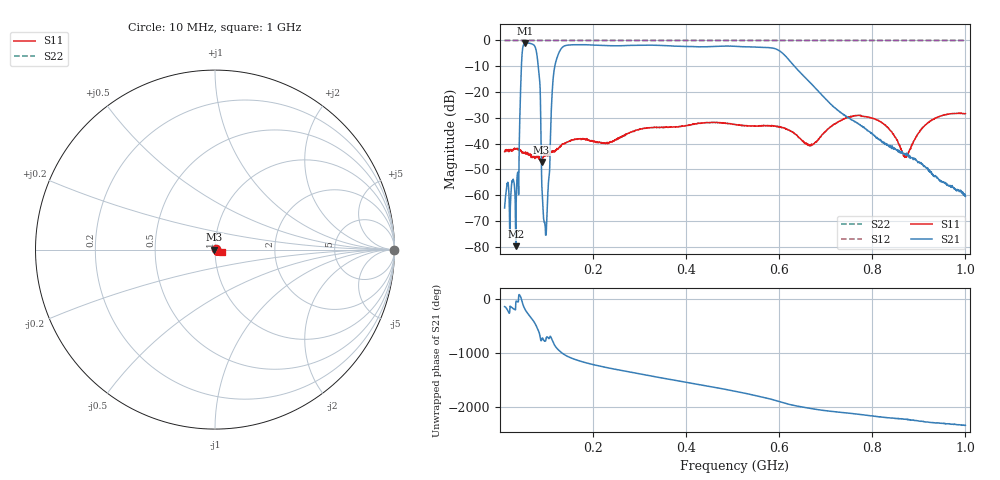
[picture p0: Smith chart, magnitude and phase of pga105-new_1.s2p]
! Anritsu VNA Master:  Model: MS2024B
! SN:  2417009
! /card0/usr/pga105-new_1.s2p
! Existing Calibration Information:
! TYPE:  Current Settings,  Active Cal Settings
! TIME:  10/08/2026 03:04:57 AM,  10/08/2026 02:19:59 AM
! INTERNAL TEMP:  46.5 C,  45.5 C
! # POINTS:  1609,  1609
! START FREQ:  10.000 MHz,  10.000 MHz
! STOP FREQ:  1.000 GHz,  1.000 GHz
! SOURCE POWER:  Default,  Default
! IFBW:  1 kHz,  1 kHz
! AVG FACTOR:  1 ,  1
! REF PLANE 1:  0 mm,  0 mm
! REF PLANE 2:  0 mm,  0 mm
! CAL TYPE:  1P2P S11,S21,  1P2P S11,S21
! CAL METHOD:  SOLT,  SOLT
! CAL LINE TYPE:  Coax,  Coax
! DUT PORT 1:  N-Conn(M),  N-Conn(M)
! DUT PORT 2:  N-Conn(M),  N-Conn(M)
! CAL STATUS:  OK: Accuracy High,  --
# GHZ S DB R 50.0
! FREQ.GHZ  S11DB  S11A  S21DB  S21A  S12DB  S12A  S22DB  S22A
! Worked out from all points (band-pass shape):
!   1609 points, 10 MHz to 1 GHz, reference 50 ohm
!   highest |S21| = -1.02 dB at 54.33 MHz (marker M1); lowest = -79.8 dB at 34.01 MHz (marker M2)
!   |S21| within 3 dB of the highest: 48.1 MHz to 77.93 MHz (29.83 MHz wide, 47.3 % of centre); 128.7 MHz to 600.6 MHz (472 MHz wide, 129 % of centre)
!   lowest |S11| = -47.1 dB at 89.42 MHz (marker M3), VSWR 1.01, Z = 49.6 - j0.105 ohm
!   |S11| at or under -10 dB: start of sweep to end of sweep
!   |S22| runs from 0.0 to 0.0 dB; largest |S21 - S12| = 1.9
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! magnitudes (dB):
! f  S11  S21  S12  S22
! 10 MHz  -43.1  -65.0  0.0  0.0
! 34.01 MHz  -42.1  -79.8  0.0  0.0
! 38.32 MHz  -41.8  -51.1  0.0  0.0
! 47.56 MHz  -43.7  -5.1  0.0  0.0
! 54.33 MHz  -43.2  -1.0  0.0  0.0
! 80.19 MHz  -45.0  -6.6  0.0  0.0
! 89.42 MHz  -47.1  -52.1  0.0  0.0
! 93.73 MHz  -45.0  -69.1  0.0  0.0
! 97.43 MHz  -44.0  -72.7  0.0  0.0
! 103 MHz  -44.5  -59.0  0.0  0.0
! 113.4 MHz  -43.2  -16.7  0.0  0.0
! 119.6 MHz  -42.7  -8.6  0.0  0.0
! 175 MHz  -38.4  -1.6  0.0  0.0
! 340 MHz  -33.8  -1.9  0.0  0.0
! 505 MHz  -32.5  -2.3  0.0  0.0
! 596.1 MHz  -33.2  -3.6  0.0  0.0
! 670 MHz  -40.5  -17.0  0.0  0.0
! 758.7 MHz  -29.2  -31.1  0.0  0.0
! 835 MHz  -34.0  -40.7  0.0  0.0
! 871.9 MHz  -45.2  -44.5  0.0  0.0
! 923 MHz  -31.5  -51.0  0.0  0.0
! 1 GHz  -28.4  -60.5  0.0  0.0
